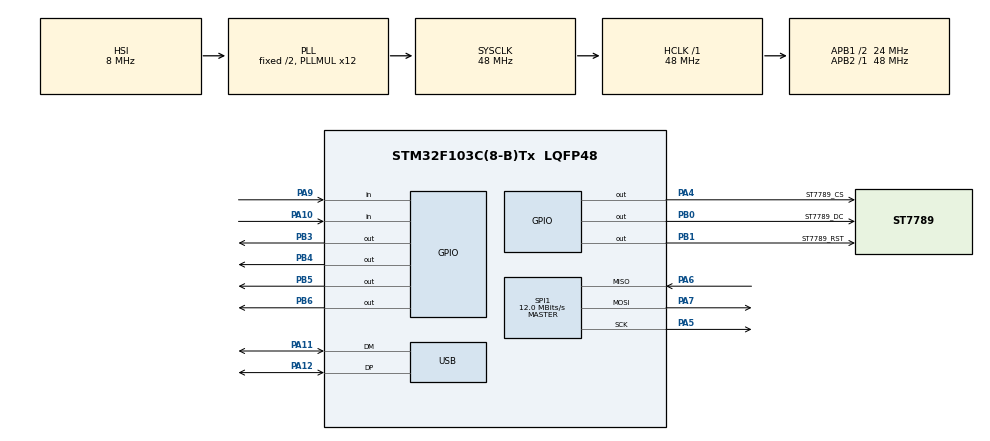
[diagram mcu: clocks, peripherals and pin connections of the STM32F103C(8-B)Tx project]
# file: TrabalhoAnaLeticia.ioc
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Mcu.Family=STM32F1
Mcu.Name=STM32F103C(8-B)Tx
Mcu.Package=LQFP48
NVIC.PriorityGroup=NVIC_PRIORITYGROUP_4
NVIC.USB_LP_CAN1_RX0_IRQn=true\:0\:0\:false\:false\:true\:false\:true
PA10.Signal=GPIO_Input
PA11.Mode=Device
PA11.Signal=USB_DM
PA12.Mode=Device
PA12.Signal=USB_DP
PA13.Mode=Serial_Wire
PA13.Signal=SYS_JTMS-SWDIO
PA14.Mode=Serial_Wire
PA14.Signal=SYS_JTCK-SWCLK
PA4.GPIO_Label=ST7789_CS
PA4.Signal=GPIO_Output
PA5.Mode=Full_Duplex_Master
PA5.Signal=SPI1_SCK
PA6.Mode=Full_Duplex_Master
PA6.Signal=SPI1_MISO
PA7.Mode=Full_Duplex_Master
PA7.Signal=SPI1_MOSI
PA9.Signal=GPIO_Input
PB0.GPIO_Label=ST7789_DC
PB0.Signal=GPIO_Output
PB1.GPIO_Label=ST7789_RST
PB1.Signal=GPIO_Output
PB3.Signal=GPIO_Output
PB4.Signal=GPIO_Output
PB5.Signal=GPIO_Output
PB6.Signal=GPIO_Output
ProjectManager.HeapSize=0x200
ProjectManager.StackSize=0x400
ProjectManager.TargetToolchain=STM32CubeIDE
RCC.AHBFreq_Value=48000000
RCC.APB1CLKDivider=RCC_HCLK_DIV2
RCC.APB1Freq_Value=24000000
RCC.APB1TimFreq_Value=48000000
RCC.APB2Freq_Value=48000000
RCC.APB2TimFreq_Value=48000000
RCC.HCLKFreq_Value=48000000
RCC.PLLMUL=RCC_PLL_MUL12
RCC.PLLSource=RCC_PLLSOURCE_HSI_DIV2
RCC.PLLSourceVirtual=RCC_PLLSOURCE_HSI_DIV2
RCC.SYSCLKFreq_VALUE=48000000
RCC.SYSCLKSource=RCC_SYSCLKSOURCE_PLLCLK
RCC.USBFreq_Value=48000000
SPI1.BaudRatePrescaler=SPI_BAUDRATEPRESCALER_4
SPI1.CLKPolarity=SPI_POLARITY_HIGH
SPI1.CalculateBaudRate=12.0 MBits/s
SPI1.Direction=SPI_DIRECTION_2LINES
SPI1.Mode=SPI_MODE_MASTER
SPI1.VirtualType=VM_MASTER
USB_DEVICE.CLASS_NAME_FS=CDC
USB_DEVICE.VirtualMode=Cdc
USB_DEVICE.VirtualModeFS=Cdc_FS
VP_USB_DEVICE_VS_USB_DEVICE_CDC_FS.Mode=CDC_FS
board=custom

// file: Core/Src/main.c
/* USER CODE BEGIN Header */
/**
  ******************************************************************************
  * @file           : main.c
  * @brief          : Main program body
  ******************************************************************************
  * @attention
  *
  * <h2><center>&copy; Copyright (c) 2024 STMicroelectronics.
  * All rights reserved.</center></h2>
  *
  * This software component is licensed by ST under BSD 3-Clause license,
  * the "License"; You may not use this file except in compliance with the
  * License. You may obtain a copy of the License at:
  *                        opensource.org/licenses/BSD-3-Clause
  *
  ******************************************************************************
  */
/* USER CODE END Header */
#include "main.h"
#include "usb_device.h"

/* USER CODE BEGIN Includes */
#include "ST7789\ST7789.h"
#include "string.h"
/* USER CODE END Includes */

/* USER CODE BEGIN PTD */
typedef struct __attribute__((aligned(4))) {
    uint8_t vertical;
    uint16_t cor[3];
} flag;
/* USER CODE END PTD */

/* USER CODE BEGIN PD */
#define TEXTO_BANDEIRA  CDC_Transmit_FS("Insira o Codigo da bandeira:\n1:Alemanha\n2:Russia\n3:Italia\n", 58)
#define TEXTO_NOME CDC_Transmit_FS("Insira o seu nome (sem caracter especial)\n", 42)
#define TEXTO_AGRADECIMENTO CDC_Transmit_FS("Obrigado por usar nosso software\n", 33)
#define PAUSA1S HAL_Delay(1000)
#define FLAG_X 55
#define FLAG_Y 123
#define FLAG_W 130
#define FLAG_H 74

#define VERTICAL_DESLOC 43
#define HORIZONTAL_DESLOC 24
/* USER CODE END PD */

SPI_HandleTypeDef hspi1;

/* USER CODE BEGIN PV */
flag const bandeira[3] = {
     {0, {BLACK, RED, YELLOW}},   // Alemanha
     {0, {WHITE, BLUE, RED}},     // Russia
     {1, {GREEN, WHITE, RED}}     // Italia
 };
uint8_t buffer[32];
uint8_t i = 0;
/* USER CODE END PV */

void SystemClock_Config(void);
static void MX_GPIO_Init(void);
static void MX_SPI1_Init(void);
/* USER CODE BEGIN PFP */
void DrawFlag(const flag*);
void SetFlag(void);
void SetName(void);
void Read(void);
uint8_t CDC_Transmit_FS(uint8_t* Buf, uint16_t Len);
/* USER CODE END PFP */

int main(void)
{

  /* MCU Configuration--------------------------------------------------------*/

  /* Reset of all peripherals, Initializes the Flash interface and the Systick. */
  HAL_Init();

  /* Configure the system clock */
  SystemClock_Config();

  /* Initialize all configured peripherals */
  MX_GPIO_Init();
  MX_SPI1_Init();
  MX_USB_DEVICE_Init();
  /* USER CODE BEGIN 2 */

#ifdef ST7789
 ST7789_Init();
 ST7789_Fill_Color(GRAY);
#elif
 ST7735_Init();
#endif

  /* USER CODE END 2 */

  /* Infinite loop */
  /* USER CODE BEGIN WHILE */

  while (1)
  {
	  Read();

    /* USER CODE END WHILE */

  }
}

void SystemClock_Config(void)
{
  RCC_OscInitTypeDef RCC_OscInitStruct = {0};
  RCC_ClkInitTypeDef RCC_ClkInitStruct = {0};
  RCC_PeriphCLKInitTypeDef PeriphClkInit = {0};

  /** Initializes the RCC Oscillators according to the specified parameters
  * in the RCC_OscInitTypeDef structure.
  */
  RCC_OscInitStruct.OscillatorType = RCC_OSCILLATORTYPE_HSI;
  RCC_OscInitStruct.HSIState = RCC_HSI_ON;
  RCC_OscInitStruct.HSICalibrationValue = RCC_HSICALIBRATION_DEFAULT;
  RCC_OscInitStruct.PLL.PLLState = RCC_PLL_ON;
  RCC_OscInitStruct.PLL.PLLSource = RCC_PLLSOURCE_HSI_DIV2;
  RCC_OscInitStruct.PLL.PLLMUL = RCC_PLL_MUL12;
  if (HAL_RCC_OscConfig(&RCC_OscInitStruct) != HAL_OK)
  {
    Error_Handler();
  }
  /** Initializes the CPU, AHB and APB buses clocks
  */
  RCC_ClkInitStruct.ClockType = RCC_CLOCKTYPE_HCLK|RCC_CLOCKTYPE_SYSCLK
                              |RCC_CLOCKTYPE_PCLK1|RCC_CLOCKTYPE_PCLK2;
  RCC_ClkInitStruct.SYSCLKSource = RCC_SYSCLKSOURCE_PLLCLK;
  RCC_ClkInitStruct.AHBCLKDivider = RCC_SYSCLK_DIV1;
  RCC_ClkInitStruct.APB1CLKDivider = RCC_HCLK_DIV2;
  RCC_ClkInitStruct.APB2CLKDivider = RCC_HCLK_DIV1;

  if (HAL_RCC_ClockConfig(&RCC_ClkInitStruct, FLASH_LATENCY_1) != HAL_OK)
  {
    Error_Handler();
  }
  PeriphClkInit.PeriphClockSelection = RCC_PERIPHCLK_USB;
  PeriphClkInit.UsbClockSelection = RCC_USBCLKSOURCE_PLL;
  if (HAL_RCCEx_PeriphCLKConfig(&PeriphClkInit) != HAL_OK)
  {
    Error_Handler();
  }
}

static void MX_SPI1_Init(void)
{

  /* SPI1 parameter configuration*/
  hspi1.Instance = SPI1;
  hspi1.Init.Mode = SPI_MODE_MASTER;
  hspi1.Init.Direction = SPI_DIRECTION_2LINES;
  hspi1.Init.DataSize = SPI_DATASIZE_8BIT;
  hspi1.Init.CLKPolarity = SPI_POLARITY_HIGH;
  hspi1.Init.CLKPhase = SPI_PHASE_1EDGE;
  hspi1.Init.NSS = SPI_NSS_SOFT;
  hspi1.Init.BaudRatePrescaler = SPI_BAUDRATEPRESCALER_4;
  hspi1.Init.FirstBit = SPI_FIRSTBIT_MSB;
  hspi1.Init.TIMode = SPI_TIMODE_DISABLE;
  hspi1.Init.CRCCalculation = SPI_CRCCALCULATION_DISABLE;
  hspi1.Init.CRCPolynomial = 10;
  if (HAL_SPI_Init(&hspi1) != HAL_OK)
  {
    Error_Handler();
  }

}

static void MX_GPIO_Init(void)
{
  GPIO_InitTypeDef GPIO_InitStruct = {0};

  /* GPIO Ports Clock Enable */
  __HAL_RCC_GPIOA_CLK_ENABLE();
  __HAL_RCC_GPIOB_CLK_ENABLE();

  /*Configure GPIO pin Output Level */
  HAL_GPIO_WritePin(ST7789_CS_GPIO_Port, ST7789_CS_Pin, GPIO_PIN_RESET);

  /*Configure GPIO pin Output Level */
  HAL_GPIO_WritePin(GPIOB, ST7789_DC_Pin|ST7789_RST_Pin|GPIO_PIN_3|GPIO_PIN_4
                          |GPIO_PIN_5|GPIO_PIN_6, GPIO_PIN_RESET);

  /*Configure GPIO pin : ST7789_CS_Pin */
  GPIO_InitStruct.Pin = ST7789_CS_Pin;
  GPIO_InitStruct.Mode = GPIO_MODE_OUTPUT_PP;
  GPIO_InitStruct.Pull = GPIO_NOPULL;
  GPIO_InitStruct.Speed = GPIO_SPEED_FREQ_LOW;
  HAL_GPIO_Init(ST7789_CS_GPIO_Port, &GPIO_InitStruct);

  /*Configure GPIO pins : ST7789_DC_Pin ST7789_RST_Pin PB3 PB4
                           PB5 PB6 */
  GPIO_InitStruct.Pin = ST7789_DC_Pin|ST7789_RST_Pin|GPIO_PIN_3|GPIO_PIN_4
                          |GPIO_PIN_5|GPIO_PIN_6;
  GPIO_InitStruct.Mode = GPIO_MODE_OUTPUT_PP;
  GPIO_InitStruct.Pull = GPIO_NOPULL;
  GPIO_InitStruct.Speed = GPIO_SPEED_FREQ_LOW;
  HAL_GPIO_Init(GPIOB, &GPIO_InitStruct);

  /*Configure GPIO pins : PA9 PA10 */
  GPIO_InitStruct.Pin = GPIO_PIN_9|GPIO_PIN_10;
  GPIO_InitStruct.Mode = GPIO_MODE_INPUT;
  GPIO_InitStruct.Pull = GPIO_NOPULL;
  HAL_GPIO_Init(GPIOA, &GPIO_InitStruct);

}

/* USER CODE BEGIN 4 */
void DrawFlag(const flag* flag)
{
        if (!flag->vertical) {
                uint8_t currentY = FLAG_Y;
                for (i = 0; i < 3; i++) {
                        ST7789_DrawFilledRectangle(FLAG_X, currentY, FLAG_W, HORIZONTAL_DESLOC, flag->cor[i]);
                        currentY += HORIZONTAL_DESLOC;
                }
        }
        else {
                uint8_t currentX = FLAG_X;
                for (i = 0; i < 3; i++) {
                        ST7789_DrawFilledRectangle(currentX, FLAG_Y, VERTICAL_DESLOC, FLAG_H, flag->cor[i]);
                        currentX += VERTICAL_DESLOC;
                }
        }
}
void SetFlag() {
        while (1) {
        if (buffer[0] > '0' && buffer[0] < '4') {
    DrawFlag(&bandeira[ buffer[0]-'0'- 1 ]);
    memset (buffer, '\0', 32);
    return;
        }
        else if (buffer[0] < '0' || buffer[0] >= '5' ) {
        CDC_Transmit_FS("Invalido\n",9);
        memset (buffer, '\0', 32);
        }
  }
}
void SetName() {
        while (1) {
        if (buffer[0] != 0) {
        ST7789_WriteString(30,58, &buffer, Font_11x18, WHITE, BLACK);
        CDC_Transmit_FS("OK\n",3);
        memset(buffer, '\0', 32);
        break;
        }
        }
}
void Read(void)
{

	  TEXTO_BANDEIRA;
	    SetFlag();
	     PAUSA1S;

	  TEXTO_NOME;
	  	SetName();
	  	 PAUSA1S;

	  TEXTO_AGRADECIMENTO;
	  HAL_Delay(5000);
	  ST7789_Fill_Color(GRAY);

}
/* USER CODE END 4 */

void Error_Handler(void)
{
  __disable_irq();
  while (1)
  {
  }
}

/************************ (C) COPYRIGHT STMicroelectronics *****END OF FILE****/
